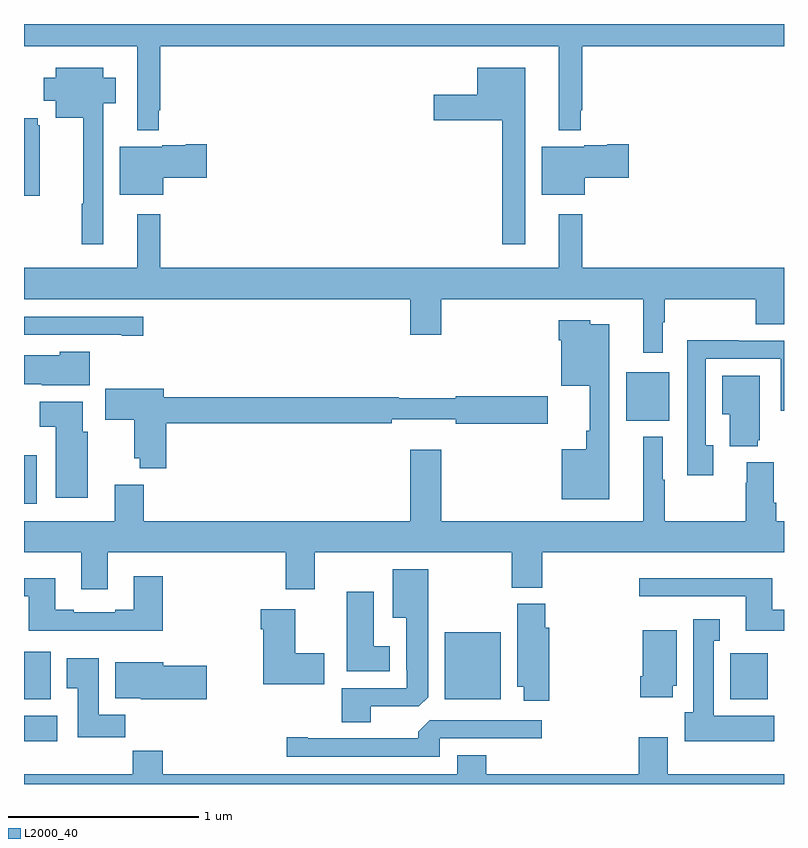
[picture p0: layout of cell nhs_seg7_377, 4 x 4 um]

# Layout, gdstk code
import gdstk
lib = gdstk.Library(unit=1e-6, precision=1e-09)
def R(c, l, rs):  # rectangles x0, y0, x1, y1
    for r in rs: c.add(gdstk.rectangle(r[:2], r[2:], *l))
def P(c, l, *ps):  # polygons
    for p in ps: c.add(gdstk.Polygon(p, *l))
L2000_40 = (2000, 40)

nhs_seg7_377 = lib.new_cell('nhs_seg7_377')
R(nhs_seg7_377, L2000_40, [(139,1062.224,139.174,1062.358), (139,1062.446,139.141,1062.696), (141.215,1062.446,141.508,1062.799), (142.718,1062.446,142.915,1062.688), (139,1063.475,139.066,1063.729), (142.169,1063.913,142.396,1064.167)])
P(nhs_seg7_377, L2000_40, [(139.709,1065.547),(139.717,1065.547),(139.717,1065.884),(141.815,1065.884),(141.815,1065.44),(141.929,1065.44),(141.929,1065.547),(141.937,1065.547),(141.937,1065.884),(143,1065.884),(143,1066),(139,1066),(139,1065.884),(139.595,1065.884),(139.595,1065.44),(139.709,1065.44)],
  [(139.417,1065.584),(139.483,1065.584),(139.483,1065.718),(139.417,1065.718),(139.417,1065.769),(139.166,1065.769),(139.166,1065.718),(139.103,1065.718),(139.103,1065.596),(139.166,1065.596),(139.166,1065.506),(139.313,1065.506),(139.313,1065.053),(139.303,1065.053),(139.303,1064.841),(139.417,1064.841)],
  [(141.637,1065.769),(141.386,1065.769),(141.386,1065.628),(141.156,1065.628),(141.156,1065.494),(141.516,1065.494),(141.516,1064.841),(141.637,1064.841)],
  [(139.084,1065.468),(139.072,1065.468),(139.072,1065.505),(139,1065.505),(139,1065.095),(139.084,1065.095)],
  [(141.952,1065.19),(142.183,1065.19),(142.183,1065.368),(142.07,1065.368),(142.07,1065.361),(141.948,1065.361),(141.948,1065.355),(141.725,1065.355),(141.725,1065.101),(141.952,1065.101)],
  [(139.732,1065.19),(139.963,1065.19),(139.963,1065.368),(139.85,1065.368),(139.85,1065.361),(139.728,1065.361),(139.728,1065.355),(139.505,1065.355),(139.505,1065.101),(139.732,1065.101)],
  [(142.363,1064.431),(142.373,1064.431),(142.373,1064.552),(142.852,1064.552),(142.852,1064.419),(143,1064.419),(143,1064.716),(141.937,1064.716),(141.937,1064.998),(141.815,1064.998),(141.815,1064.716),(139.717,1064.716),(139.717,1064.998),(139.595,1064.998),(139.595,1064.716),(139,1064.716),(139,1064.552),(141.032,1064.552),(141.032,1064.364),(141.196,1064.364),(141.196,1064.552),(142.259,1064.552),(142.259,1064.271),(142.363,1064.271)],
  [(139.627,1064.46),(139,1064.46),(139,1064.364),(139.514,1064.364),(139.514,1064.359),(139.627,1064.359)],
  [(142.081,1064.419),(141.981,1064.419),(141.981,1064.44),(141.815,1064.44),(141.815,1064.336),(141.827,1064.336),(141.827,1064.096),(141.977,1064.096),(141.977,1063.858),(141.96,1063.858),(141.96,1063.762),(141.83,1063.762),(141.83,1063.499),(142.081,1063.499)],
  [(142.627,1063.782),(142.587,1063.782),(142.587,1064.238),(142.983,1064.238),(142.983,1063.965),(143,1063.965),(143,1064.334),(142.763,1064.334),(142.763,1064.336),(142.491,1064.336),(142.491,1063.626),(142.627,1063.626)],
  [(139.345,1064.275),(139.188,1064.275),(139.188,1064.257),(139.001,1064.257),(139.001,1064.196),(139,1064.196),(139,1064.103),(139.093,1064.103),(139.093,1064.099),(139.345,1064.099)],
  [(142.862,1063.809),(142.873,1063.809),(142.873,1064.149),(142.676,1064.149),(142.676,1063.946),(142.715,1063.946),(142.715,1063.778),(142.862,1063.778)],
  [(139.748,1063.9),(140.936,1063.9),(140.936,1063.919),(141.272,1063.919),(141.272,1063.895),(141.757,1063.895),(141.757,1064.042),(141.272,1064.042),(141.272,1064.029),(140.972,1064.029),(140.972,1064.036),(139.735,1064.036),(139.735,1064.08),(139.428,1064.08),(139.428,1063.918),(139.58,1063.918),(139.58,1063.715),(139.61,1063.715),(139.61,1063.661),(139.748,1063.661)],
  [(139.336,1063.854),(139.309,1063.854),(139.309,1064.011),(139.082,1064.011),(139.082,1063.88),(139.166,1063.88),(139.166,1063.506),(139.336,1063.506)],
  [(139.441,1063.22),(140.378,1063.22),(140.378,1063.026),(140.53,1063.026),(140.53,1063.22),(141.568,1063.22),(141.568,1063.033),(141.728,1063.033),(141.728,1063.22),(143,1063.22),(143,1063.384),(142.958,1063.384),(142.958,1063.48),(142.945,1063.48),(142.945,1063.693),(142.805,1063.693),(142.805,1063.586),(142.798,1063.586),(142.798,1063.384),(142.373,1063.384),(142.373,1063.601),(142.363,1063.601),(142.363,1063.828),(142.259,1063.828),(142.259,1063.384),(141.196,1063.384),(141.196,1063.759),(141.032,1063.759),(141.032,1063.384),(139.631,1063.384),(139.631,1063.576),(139.478,1063.576),(139.478,1063.384),(139,1063.384),(139,1063.22),(139.301,1063.22),(139.301,1063.026),(139.441,1063.026)],
  [(140.824,1062.408),(141.078,1062.408),(141.127,1062.457),(141.127,1063.129),(140.942,1063.129),(140.942,1062.875),(141.011,1062.875),(141.011,1062.601),(141.015,1062.601),(141.015,1062.504),(140.672,1062.504),(140.672,1062.325),(140.824,1062.325)],
  [(139.73,1063.093),(139.577,1063.093),(139.577,1062.916),(139.481,1062.916),(139.481,1062.903),(139.261,1062.903),(139.261,1062.916),(139.165,1062.916),(139.165,1063.084),(139,1063.084),(139,1062.987),(139.025,1062.987),(139.025,1062.806),(139.73,1062.806)],
  [(143,1062.916),(142.939,1062.916),(142.939,1063.084),(142.239,1063.084),(142.239,1062.987),(142.799,1062.987),(142.799,1062.806),(143,1062.806)],
  [(140.926,1062.724),(140.842,1062.724),(140.842,1063.012),(140.699,1063.012),(140.699,1062.593),(140.926,1062.593)],
  [(141.764,1062.822),(141.743,1062.822),(141.743,1062.948),(141.596,1062.948),(141.596,1062.512),(141.629,1062.512),(141.629,1062.438),(141.764,1062.438)],
  [(140.581,1062.687),(140.428,1062.687),(140.428,1062.919),(140.246,1062.919),(140.246,1062.815),(140.258,1062.815),(140.258,1062.524),(140.581,1062.524)],
  [(142.948,1062.358),(142.63,1062.358),(142.63,1062.755),(142.663,1062.755),(142.663,1062.868),(142.523,1062.868),(142.523,1062.378),(142.478,1062.378),(142.478,1062.224),(142.948,1062.224)],
  [(142.414,1062.516),(142.435,1062.516),(142.435,1062.808),(142.256,1062.808),(142.256,1062.568),(142.244,1062.568),(142.244,1062.456),(142.414,1062.456)],
  [(139.532,1062.364),(139.393,1062.364),(139.393,1062.661),(139.226,1062.661),(139.226,1062.505),(139.283,1062.505),(139.283,1062.246),(139.532,1062.246)],
  [(139.963,1062.623),(139.732,1062.623),(139.732,1062.64),(139.481,1062.64),(139.481,1062.452),(139.614,1062.452),(139.614,1062.446),(139.963,1062.446)],
  [(141.189,1062.24),(141.724,1062.24),(141.724,1062.336),(141.135,1062.336),(141.074,1062.274),(141.074,1062.24),(140.494,1062.24),(140.494,1062.245),(140.382,1062.245),(140.382,1062.144),(141.189,1062.144)],
  [(143,1062.052),(142.387,1062.052),(142.387,1062.247),(142.235,1062.247),(142.235,1062.052),(141.434,1062.052),(141.434,1062.151),(141.281,1062.151),(141.281,1062.052),(139.73,1062.052),(139.73,1062.176),(139.573,1062.176),(139.573,1062.052),(139,1062.052),(139,1062),(143,1062)])

lib.write_gds('nhs_seg7_377.gds')
